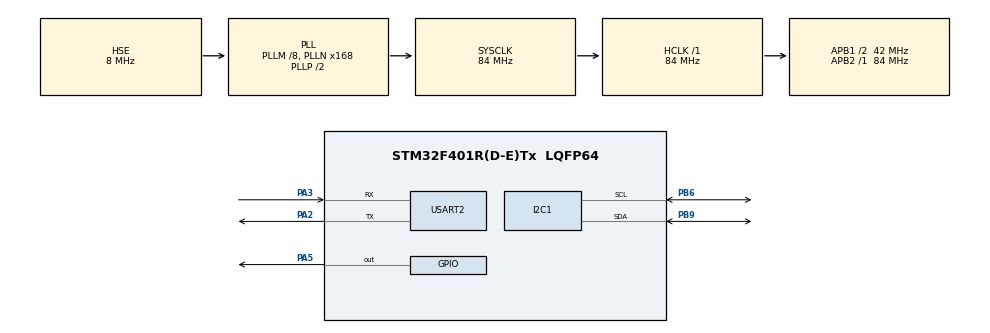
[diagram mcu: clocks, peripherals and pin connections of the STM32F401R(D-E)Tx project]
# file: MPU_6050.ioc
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Dma.I2C1_RX.0.Direction=DMA_PERIPH_TO_MEMORY
Dma.I2C1_RX.0.FIFOMode=DMA_FIFOMODE_DISABLE
Dma.I2C1_RX.0.Instance=DMA1_Stream0
Dma.I2C1_RX.0.MemDataAlignment=DMA_MDATAALIGN_BYTE
Dma.I2C1_RX.0.MemInc=DMA_MINC_ENABLE
Dma.I2C1_RX.0.Mode=DMA_NORMAL
Dma.I2C1_RX.0.PeriphDataAlignment=DMA_PDATAALIGN_BYTE
Dma.I2C1_RX.0.PeriphInc=DMA_PINC_DISABLE
Dma.I2C1_RX.0.Priority=DMA_PRIORITY_LOW
Dma.Request0=I2C1_RX
Mcu.Family=STM32F4
Mcu.Name=STM32F401R(D-E)Tx
Mcu.Package=LQFP64
NVIC.DMA1_Stream0_IRQn=true\:0\:0\:false\:false\:true\:false\:true\:true
NVIC.I2C1_ER_IRQn=true\:0\:0\:false\:false\:true\:true\:true\:true
NVIC.I2C1_EV_IRQn=true\:0\:0\:false\:false\:true\:true\:true\:true
NVIC.PriorityGroup=NVIC_PRIORITYGROUP_4
PA13.Mode=Serial_Wire
PA13.Signal=SYS_JTMS-SWDIO
PA14.Mode=Serial_Wire
PA14.Signal=SYS_JTCK-SWCLK
PA2.Mode=Asynchronous
PA2.Signal=USART2_TX
PA3.Mode=Asynchronous
PA3.Signal=USART2_RX
PA5.Signal=GPIO_Output
PB6.Mode=I2C
PB6.Signal=I2C1_SCL
PB9.Mode=I2C
PB9.Signal=I2C1_SDA
PH0\ -\ OSC_IN.Mode=HSE-External-Clock-Source
PH0\ -\ OSC_IN.Signal=RCC_OSC_IN
PH1\ -\ OSC_OUT.Mode=HSE-External-Clock-Source
PH1\ -\ OSC_OUT.Signal=RCC_OSC_OUT
ProjectManager.HeapSize=0x200
ProjectManager.StackSize=0x400
ProjectManager.TargetToolchain=STM32CubeIDE
RCC.48MHZClocksFreq_Value=42000000
RCC.AHBFreq_Value=84000000
RCC.APB1CLKDivider=RCC_HCLK_DIV2
RCC.APB1Freq_Value=42000000
RCC.APB1TimFreq_Value=84000000
RCC.APB2Freq_Value=84000000
RCC.APB2TimFreq_Value=84000000
RCC.CortexFreq_Value=84000000
RCC.HCLKFreq_Value=84000000
RCC.HSE_VALUE=8000000
RCC.HSI_VALUE=16000000
RCC.LSE_VALUE=32768
RCC.PLLM=8
RCC.PLLN=168
RCC.PLLSourceVirtual=RCC_PLLSOURCE_HSE
RCC.SYSCLKFreq_VALUE=84000000
RCC.SYSCLKSource=RCC_SYSCLKSOURCE_PLLCLK
RCC.VCOOutputFreq_Value=168000000
USART2.VirtualMode=VM_ASYNC
board=custom

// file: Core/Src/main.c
/* USER CODE BEGIN Header */
/**
  ******************************************************************************
  * @file           : main.c
  * @brief          : Main program body
  ******************************************************************************
  * @attention
  *
  * Copyright (c) 2026 STMicroelectronics.
  * All rights reserved.
  *
  * This software is licensed under terms that can be found in the LICENSE file
  * in the root directory of this software component.
  * If no LICENSE file comes with this software, it is provided AS-IS.
  *
  ******************************************************************************
  */
/* USER CODE END Header */
#include "main.h"

/* USER CODE BEGIN Includes */

#include "MPU6050.h"
#include <stdio.h>
#include "Kalman.h"
#include <math.h>

/* USER CODE END Includes */

I2C_HandleTypeDef hi2c1;
DMA_HandleTypeDef hdma_i2c1_rx;

UART_HandleTypeDef huart2;

/* USER CODE BEGIN PV */

KALMAN_T kalmanRoll;
KALMAN_T kalmanPitch;

float rollAcc=0.0f;
float pitchAcc=0.0f;

float roll=0.0f;
float pitch=0.0f;
float yaw = 0.0f;

uint32_t previousTime;

/* USER CODE END PV */

void SystemClock_Config(void);
static void MX_GPIO_Init(void);
static void MX_DMA_Init(void);
static void MX_I2C1_Init(void);
static void MX_USART2_UART_Init(void);

/* USER CODE BEGIN 0 */

/* USER CODE BEGIN 0 */
int _write(int file, char *ptr, int len)
{
  HAL_UART_Transmit(&huart2, (uint8_t*)ptr, len, 100);
  for (int i = 0; i < len; i++) ITM_SendChar(ptr[i]);
  return len;
}
/* USER CODE END 0 */

int main(void)
{

  /* MCU Configuration--------------------------------------------------------*/

  /* Reset of all peripherals, Initializes the Flash interface and the Systick. */
  HAL_Init();

  /* Configure the system clock */
  SystemClock_Config();

  /* Initialize all configured peripherals */
  MX_GPIO_Init();
  MX_DMA_Init();
  MX_I2C1_Init();
  MX_USART2_UART_Init();
  /* USER CODE BEGIN 2 */

  MPU_Init();
  RAW_DATA raw ={0};
  ACT_DATA data= {0};

  Kalman_Init(&kalmanRoll);
  Kalman_Init(&kalmanPitch);

  previousTime = HAL_GetTick();

  MPU_StartRawDMA();   // kick off the first DMA transfer

  /* USER CODE END 2 */

  /* Infinite loop */
  while (1)
  {

    /* USER CODE BEGIN 3 */

  if (MPU_IsDataReady())
  {
    MPU_Raw(&raw);
    MPU_Convert(&raw, &data);
    MPU_StartRawDMA();   // re-arm for next sample

    printf("ACC: X=%.2f Y=%.2f Z=%.2f g \n",
           data.accX,
           data.accY,
           data.accZ);
    printf("\n");

    printf("GYRO: X=%.2f Y=%.2f Z=%.2f dps \n",
           data.gyroX,
           data.gyroY,
           data.gyroZ);
    printf("\n");

    uint32_t currentTime = HAL_GetTick();
    float dt = (currentTime - previousTime) / 1000.0f;

    previousTime = currentTime;

    yaw += data.gyroZ * dt;

    //ACC angle

    rollAcc = atan2f(data.accY,data.accZ) * 57.2957795f;

    pitchAcc =
        atan2f( -data.accX,sqrtf((data.accY * data.accY) + (data.accZ * data.accZ))) * 57.2957795f;

    //Kalman Rollandpitch

    roll = Kalman_Update(&kalmanRoll, rollAcc, data.gyroX, dt );

    pitch = Kalman_Update(&kalmanPitch, pitchAcc, data.gyroY, dt);

    //Printf

    printf(
        "Roll: ACC=%.2f | "
        "Pitch: ACC=%.2f \r\n",
        rollAcc,
        pitchAcc
    );

    printf("Roll=%.2f Pitch=%.2f Yaw=%.2f\r\n",
           roll,
           pitch,
           yaw);

    printf("\n");
  }

  }
  /* USER CODE END 3 */
}

void SystemClock_Config(void)
{
  RCC_OscInitTypeDef RCC_OscInitStruct = {0};
  RCC_ClkInitTypeDef RCC_ClkInitStruct = {0};

  /** Configure the main internal regulator output voltage
  */
  __HAL_RCC_PWR_CLK_ENABLE();
  __HAL_PWR_VOLTAGESCALING_CONFIG(PWR_REGULATOR_VOLTAGE_SCALE2);

  /** Initializes the RCC Oscillators according to the specified parameters
  * in the RCC_OscInitTypeDef structure.
  */
  RCC_OscInitStruct.OscillatorType = RCC_OSCILLATORTYPE_HSE;
  RCC_OscInitStruct.HSEState = RCC_HSE_BYPASS;
  RCC_OscInitStruct.PLL.PLLState = RCC_PLL_ON;
  RCC_OscInitStruct.PLL.PLLSource = RCC_PLLSOURCE_HSE;
  RCC_OscInitStruct.PLL.PLLM = 8;
  RCC_OscInitStruct.PLL.PLLN = 168;
  RCC_OscInitStruct.PLL.PLLP = RCC_PLLP_DIV2;
  RCC_OscInitStruct.PLL.PLLQ = 4;
  if (HAL_RCC_OscConfig(&RCC_OscInitStruct) != HAL_OK)
  {
    Error_Handler();
  }

  /** Initializes the CPU, AHB and APB buses clocks
  */
  RCC_ClkInitStruct.ClockType = RCC_CLOCKTYPE_HCLK|RCC_CLOCKTYPE_SYSCLK
                              |RCC_CLOCKTYPE_PCLK1|RCC_CLOCKTYPE_PCLK2;
  RCC_ClkInitStruct.SYSCLKSource = RCC_SYSCLKSOURCE_PLLCLK;
  RCC_ClkInitStruct.AHBCLKDivider = RCC_SYSCLK_DIV1;
  RCC_ClkInitStruct.APB1CLKDivider = RCC_HCLK_DIV2;
  RCC_ClkInitStruct.APB2CLKDivider = RCC_HCLK_DIV1;

  if (HAL_RCC_ClockConfig(&RCC_ClkInitStruct, FLASH_LATENCY_2) != HAL_OK)
  {
    Error_Handler();
  }
}

static void MX_I2C1_Init(void)
{

  hi2c1.Instance = I2C1;
  hi2c1.Init.ClockSpeed = 100000;
  hi2c1.Init.DutyCycle = I2C_DUTYCYCLE_2;
  hi2c1.Init.OwnAddress1 = 0;
  hi2c1.Init.AddressingMode = I2C_ADDRESSINGMODE_7BIT;
  hi2c1.Init.DualAddressMode = I2C_DUALADDRESS_DISABLE;
  hi2c1.Init.OwnAddress2 = 0;
  hi2c1.Init.GeneralCallMode = I2C_GENERALCALL_DISABLE;
  hi2c1.Init.NoStretchMode = I2C_NOSTRETCH_DISABLE;
  if (HAL_I2C_Init(&hi2c1) != HAL_OK)
  {
    Error_Handler();
  }
  /* USER CODE BEGIN I2C1_Init 2 */

  /* --- DMA RX stream config for I2C1 --- */
  hdma_i2c1_rx.Instance = DMA1_Stream0;
  hdma_i2c1_rx.Init.Channel = DMA_CHANNEL_1;
  hdma_i2c1_rx.Init.Direction = DMA_PERIPH_TO_MEMORY;
  hdma_i2c1_rx.Init.PeriphInc = DMA_PINC_DISABLE;
  hdma_i2c1_rx.Init.MemInc = DMA_MINC_ENABLE;
  hdma_i2c1_rx.Init.PeriphDataAlignment = DMA_PDATAALIGN_BYTE;
  hdma_i2c1_rx.Init.MemDataAlignment = DMA_MDATAALIGN_BYTE;
  hdma_i2c1_rx.Init.Mode = DMA_NORMAL;
  hdma_i2c1_rx.Init.Priority = DMA_PRIORITY_LOW;
  hdma_i2c1_rx.Init.FIFOMode = DMA_FIFOMODE_DISABLE;

  if (HAL_DMA_Init(&hdma_i2c1_rx) != HAL_OK)
  {
    Error_Handler();
  }

  __HAL_LINKDMA(&hi2c1, hdmarx, hdma_i2c1_rx);

  /* --- I2C1 event/error NVIC (required for DMA completion callback) --- */
  HAL_NVIC_SetPriority(I2C1_EV_IRQn, 1, 0);
  HAL_NVIC_EnableIRQ(I2C1_EV_IRQn);

  HAL_NVIC_SetPriority(I2C1_ER_IRQn, 1, 0);
  HAL_NVIC_EnableIRQ(I2C1_ER_IRQn);

  /* USER CODE END I2C1_Init 2 */

}

static void MX_USART2_UART_Init(void)
{

  huart2.Instance = USART2;
  huart2.Init.BaudRate = 115200;
  huart2.Init.WordLength = UART_WORDLENGTH_8B;
  huart2.Init.StopBits = UART_STOPBITS_1;
  huart2.Init.Parity = UART_PARITY_NONE;
  huart2.Init.Mode = UART_MODE_TX_RX;
  huart2.Init.HwFlowCtl = UART_HWCONTROL_NONE;
  huart2.Init.OverSampling = UART_OVERSAMPLING_16;
  if (HAL_UART_Init(&huart2) != HAL_OK)
  {
    Error_Handler();
  }

}

static void MX_DMA_Init(void)
{

  /* DMA controller clock enable */
  __HAL_RCC_DMA1_CLK_ENABLE();

  /* DMA interrupt init */
  /* DMA1_Stream0_IRQn interrupt configuration */
  HAL_NVIC_SetPriority(DMA1_Stream0_IRQn, 0, 0);
  HAL_NVIC_EnableIRQ(DMA1_Stream0_IRQn);

}

static void MX_GPIO_Init(void)
{
  GPIO_InitTypeDef GPIO_InitStruct = {0};

  /* GPIO Ports Clock Enable */
  __HAL_RCC_GPIOH_CLK_ENABLE();
  __HAL_RCC_GPIOA_CLK_ENABLE();
  __HAL_RCC_GPIOB_CLK_ENABLE();

  /*Configure GPIO pin Output Level */
  HAL_GPIO_WritePin(GPIOA, GPIO_PIN_5, GPIO_PIN_RESET);

  /*Configure GPIO pin : PA5 */
  GPIO_InitStruct.Pin = GPIO_PIN_5;
  GPIO_InitStruct.Mode = GPIO_MODE_OUTPUT_PP;
  GPIO_InitStruct.Pull = GPIO_NOPULL;
  GPIO_InitStruct.Speed = GPIO_SPEED_FREQ_LOW;
  HAL_GPIO_Init(GPIOA, &GPIO_InitStruct);

}

void Error_Handler(void)
{
  __disable_irq();
  while (1)
  {
  }
}
